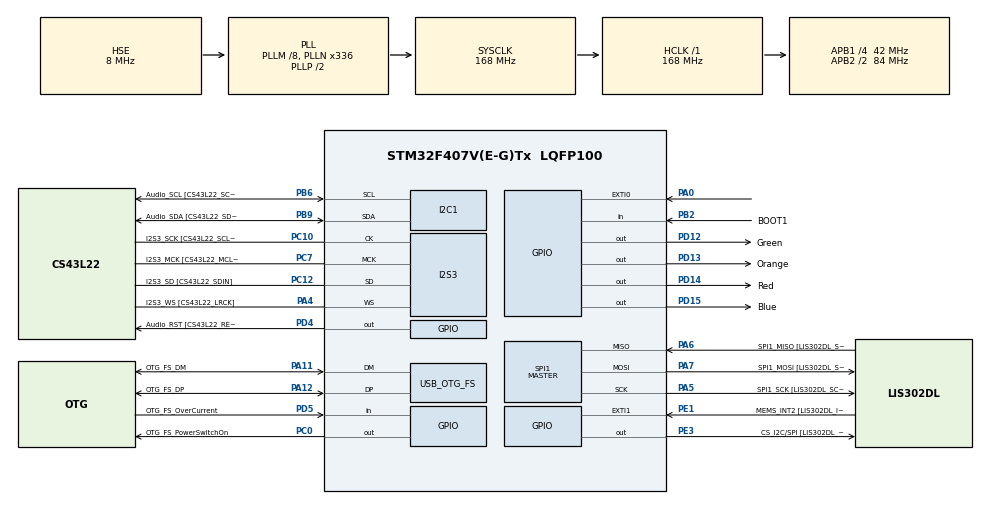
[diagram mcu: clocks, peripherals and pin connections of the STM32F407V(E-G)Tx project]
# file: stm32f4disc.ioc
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Dma.Request0=SPI3_TX
Dma.SPI3_TX.0.Direction=DMA_MEMORY_TO_PERIPH
Dma.SPI3_TX.0.FIFOMode=DMA_FIFOMODE_ENABLE
Dma.SPI3_TX.0.FIFOThreshold=DMA_FIFO_THRESHOLD_FULL
Dma.SPI3_TX.0.Instance=DMA1_Stream5
Dma.SPI3_TX.0.MemBurst=DMA_MBURST_SINGLE
Dma.SPI3_TX.0.MemDataAlignment=DMA_MDATAALIGN_HALFWORD
Dma.SPI3_TX.0.MemInc=DMA_MINC_ENABLE
Dma.SPI3_TX.0.Mode=DMA_CIRCULAR
Dma.SPI3_TX.0.PeriphBurst=DMA_PBURST_SINGLE
Dma.SPI3_TX.0.PeriphDataAlignment=DMA_PDATAALIGN_HALFWORD
Dma.SPI3_TX.0.PeriphInc=DMA_PINC_DISABLE
Dma.SPI3_TX.0.Priority=DMA_PRIORITY_LOW
I2S3.AudioFreq=I2S_AUDIOFREQ_48K
I2S3.AudioFreq-Half_Duplex_Master=I2S_AUDIOFREQ_96K
I2S3.ErrorAudioFreq=-2.34 %
I2S3.ErrorAudioFreq-Half_Duplex_Master=0.8 %
I2S3.FullDuplexMode=I2S_FULLDUPLEXMODE_DISABLE
I2S3.Instance=SPI$Index
I2S3.RealAudioFreq=46.875 KHz
I2S3.RealAudioFreq-Half_Duplex_Master=96.774 KHz
I2S3.Standard=I2S_STANDARD_LSB
I2S3.VirtualMode=I2S_MODE_MASTER
Mcu.Family=STM32F4
Mcu.Name=STM32F407V(E-G)Tx
Mcu.Package=LQFP100
NVIC.DMA1_Stream5_IRQn=true\:0\:0\:false\:false\:true\:false\:true\:true
NVIC.EXTI0_IRQn=true\:0\:0\:false\:false\:true\:true\:true\:true
NVIC.OTG_FS_IRQn=true\:0\:0\:false\:false\:true\:true\:true\:true
NVIC.PriorityGroup=NVIC_PRIORITYGROUP_0
NVIC.SPI3_IRQn=true\:0\:0\:false\:false\:true\:true\:true\:true
NVIC.TIM1_UP_TIM10_IRQn=true\:0\:0\:false\:false\:true\:true\:true\:true
PA0-WKUP.GPIO_ModeDefaultEXTI=GPIO_MODE_IT_RISING_FALLING
PA0-WKUP.Signal=GPXTI0
PA10.GPIO_Label=OTG_FS_ID
PA10.GPIO_Mode=GPIO_MODE_AF_PP
PA10.GPIO_PuPd=GPIO_NOPULL
PA10.GPIO_Speed=GPIO_SPEED_FREQ_LOW
PA10.Signal=USB_OTG_FS_ID
PA11.GPIO_Label=OTG_FS_DM
PA11.GPIO_Mode=GPIO_MODE_AF_PP
PA11.GPIO_PuPd=GPIO_NOPULL
PA11.GPIO_Speed=GPIO_SPEED_FREQ_LOW
PA11.Mode=Device_Only
PA11.Signal=USB_OTG_FS_DM
PA12.GPIO_Label=OTG_FS_DP
PA12.GPIO_Mode=GPIO_MODE_AF_PP
PA12.GPIO_PuPd=GPIO_NOPULL
PA12.GPIO_Speed=GPIO_SPEED_FREQ_LOW
PA12.Mode=Device_Only
PA12.Signal=USB_OTG_FS_DP
PA13.GPIO_Label=SWDIO
PA13.Mode=Serial_Wire
PA13.Signal=SYS_JTMS-SWDIO
PA14.GPIO_Label=SWCLK
PA14.Mode=Serial_Wire
PA14.Signal=SYS_JTCK-SWCLK
PA4.GPIO_Label=I2S3_WS [CS43L22_LRCK]
PA4.GPIO_Mode=GPIO_MODE_AF_PP
PA4.GPIO_PuPd=GPIO_NOPULL
PA4.GPIO_Speed=GPIO_SPEED_FREQ_LOW
PA4.Mode=Half_Duplex_Master
PA4.Signal=I2S3_WS
PA5.GPIO_Label=SPI1_SCK [LIS302DL_SCL/SPC]
PA5.GPIO_Mode=GPIO_MODE_AF_PP
PA5.GPIO_PuPd=GPIO_NOPULL
PA5.GPIO_Speed=GPIO_SPEED_FREQ_LOW
PA5.Mode=Full_Duplex_Master
PA5.Signal=SPI1_SCK
PA6.GPIO_Label=SPI1_MISO [LIS302DL_SDO]
PA6.GPIO_Mode=GPIO_MODE_AF_PP
PA6.GPIO_PuPd=GPIO_NOPULL
PA6.GPIO_Speed=GPIO_SPEED_FREQ_LOW
PA6.Mode=Full_Duplex_Master
PA6.Signal=SPI1_MISO
PA7.GPIO_Label=SPI1_MOSI [LIS302DL_SDA/SDI/SDO]
PA7.GPIO_Mode=GPIO_MODE_AF_PP
PA7.GPIO_PuPd=GPIO_NOPULL
PA7.GPIO_Speed=GPIO_SPEED_FREQ_LOW
PA7.Mode=Full_Duplex_Master
PA7.Signal=SPI1_MOSI
PA9.GPIO_Label=VBUS_FS
PA9.GPIO_Mode=GPIO_MODE_INPUT
PA9.GPIO_PuPd=GPIO_NOPULL
PA9.Signal=USB_OTG_FS_VBUS
PB10.GPIO_Label=CLK_IN [MP45DT02_CLK]
PB10.GPIO_Mode=GPIO_MODE_AF_PP
PB10.GPIO_PuPd=GPIO_NOPULL
PB10.GPIO_Speed=GPIO_SPEED_FREQ_LOW
PB10.Signal=I2S2_CK
PB2.GPIO_Label=BOOT1
PB2.GPIO_Mode=GPIO_MODE_INPUT
PB2.GPIO_PuPd=GPIO_NOPULL
PB2.Signal=GPIO_Input
PB3.GPIO_Label=SWO
PB3.Signal=SYS_JTDO-SWO
PB6.GPIO_Label=Audio_SCL [CS43L22_SCL]
PB6.GPIO_Mode=GPIO_MODE_AF_OD
PB6.GPIO_Pu=GPIO_PULLUP
PB6.GPIO_PuPd=GPIO_NOPULL
PB6.GPIO_Speed=GPIO_SPEED_FREQ_LOW
PB6.Mode=I2C
PB6.Signal=I2C1_SCL
PB9.GPIO_Label=Audio_SDA [CS43L22_SDA]
PB9.GPIO_Mode=GPIO_MODE_AF_OD
PB9.GPIO_Pu=GPIO_PULLUP
PB9.GPIO_PuPd=GPIO_NOPULL
PB9.GPIO_Speed=GPIO_SPEED_FREQ_LOW
PB9.Mode=I2C
PB9.Signal=I2C1_SDA
PC0.GPIO_Label=OTG_FS_PowerSwitchOn
PC0.GPIO_PuPd=GPIO_NOPULL
PC0.GPIO_Speed=GPIO_SPEED_FREQ_LOW
PC0.PinState=GPIO_PIN_SET
PC0.Signal=GPIO_Output
PC10.GPIO_Label=I2S3_SCK [CS43L22_SCLK]
PC10.GPIO_Mode=GPIO_MODE_AF_PP
PC10.GPIO_PuPd=GPIO_NOPULL
PC10.GPIO_Speed=GPIO_SPEED_FREQ_LOW
PC10.Mode=Half_Duplex_Master
PC10.Signal=I2S3_CK
PC12.GPIO_Label=I2S3_SD [CS43L22_SDIN]
PC12.GPIO_Mode=GPIO_MODE_AF_PP
PC12.GPIO_PuPd=GPIO_NOPULL
PC12.GPIO_Speed=GPIO_SPEED_FREQ_LOW
PC12.Mode=Half_Duplex_Master
PC12.Signal=I2S3_SD
PC14-OSC32_IN.GPIO_Label=PC14-OSC32_IN
PC14-OSC32_IN.Mode=LSE-External-Oscillator
PC14-OSC32_IN.Signal=RCC_OSC32_IN
PC15-OSC32_OUT.GPIO_Label=PC15-OSC32_OUT
PC15-OSC32_OUT.Mode=LSE-External-Oscillator
PC15-OSC32_OUT.Signal=RCC_OSC32_OUT
PC3.GPIO_Label=PDM_OUT [MP45DT02_DOUT]
PC3.GPIO_Mode=GPIO_MODE_AF_PP
PC3.GPIO_PuPd=GPIO_NOPULL
PC3.GPIO_Speed=GPIO_SPEED_FREQ_LOW
PC3.Signal=I2S2_SD
PC7.GPIO_Label=I2S3_MCK [CS43L22_MCLK]
PC7.GPIO_Mode=GPIO_MODE_AF_PP
PC7.GPIO_PuPd=GPIO_NOPULL
PC7.GPIO_Speed=GPIO_SPEED_FREQ_LOW
PC7.Mode=Master_Clock_Activated
PC7.Signal=I2S3_MCK
PD12.GPIO_Label=Green
PD12.Signal=GPIO_Output
PD13.GPIO_Label=Orange
PD13.Signal=GPIO_Output
PD14.GPIO_Label=Red
PD14.Signal=GPIO_Output
PD15.GPIO_Label=Blue
PD15.Signal=GPIO_Output
PD4.GPIO_Label=Audio_RST [CS43L22_RESET]
PD4.GPIO_PuPd=GPIO_NOPULL
PD4.GPIO_Speed=GPIO_SPEED_FREQ_LOW
PD4.Signal=GPIO_Output
PD5.GPIO_Label=OTG_FS_OverCurrent
PD5.GPIO_Mode=GPIO_MODE_INPUT
PD5.GPIO_PuPd=GPIO_NOPULL
PD5.Signal=GPIO_Input
PE1.GPIO_Label=MEMS_INT2 [LIS302DL_INT2]
PE1.GPIO_ModeDefaultEXTI=GPIO_MODE_EVT_RISING
PE1.GPIO_PuPd=GPIO_NOPULL
PE1.Signal=GPXTI1
PE3.GPIO_Label=CS_I2C/SPI [LIS302DL_CS_I2C/SPI]
PE3.GPIO_PuPd=GPIO_NOPULL
PE3.GPIO_Speed=GPIO_SPEED_FREQ_LOW
PE3.Signal=GPIO_Output
PH0-OSC_IN.GPIO_Label=PH0-OSC_IN
PH0-OSC_IN.Mode=HSE-External-Oscillator
PH0-OSC_IN.Signal=RCC_OSC_IN
PH1-OSC_OUT.GPIO_Label=PH1-OSC_OUT
PH1-OSC_OUT.Mode=HSE-External-Oscillator
PH1-OSC_OUT.Signal=RCC_OSC_OUT
ProjectManager.HeapSize=0x600
ProjectManager.StackSize=0x400
ProjectManager.TargetToolchain=STM32CubeIDE
RCC.48MHZClocksFreq_Value=48000000
RCC.AHBFreq_Value=168000000
RCC.APB1CLKDivider=RCC_HCLK_DIV4
RCC.APB1Freq_Value=42000000
RCC.APB1TimFreq_Value=84000000
RCC.APB2CLKDivider=RCC_HCLK_DIV2
RCC.APB2Freq_Value=84000000
RCC.APB2TimFreq_Value=168000000
RCC.CortexFreq_Value=168000000
RCC.HCLKFreq_Value=168000000
RCC.HSE_VALUE=8000000
RCC.HSI_VALUE=16000000
RCC.PLLM=8
RCC.PLLN=336
RCC.PLLQ=7
RCC.RCC_RTC_Clock_Source=RCC_RTCCLKSOURCE_LSI
RCC.RCC_RTC_Clock_SourceVirtual=RCC_RTCCLKSOURCE_LSI
RCC.SYSCLKFreq_VALUE=168000000
RCC.SYSCLKSource=RCC_SYSCLKSOURCE_PLLCLK
RCC.VCOOutputFreq_Value=336000000
SPI1.BaudRatePrescaler-Full_Duplex_Master=SPI_BAUDRATEPRESCALER_2
SPI1.CalculateBaudRate-Full_Duplex_Master=42.0 MBits/s
SPI1.Direction=SPI_DIRECTION_2LINES
SPI1.Mode=SPI_MODE_MASTER
SPI1.Mode-Full_Duplex_Master=SPI_MODE_MASTER
SPI1.VirtualType=VM_MASTER
TIM1.Prescaler=6799
TIM10.Prescaler=16799
TIM2.Prescaler=8399
USB_DEVICE.CLASS_NAME_FS=CDC
USB_DEVICE.VirtualMode-CDC_FS=Cdc
USB_DEVICE.VirtualModeFS=Cdc_FS
USB_OTG_FS.VirtualMode=Device_Only
VP_TIM10_VS_ClockSourceINT.Mode=Enable_Timer
VP_TIM1_VS_ClockSourceINT.Mode=Internal
VP_TIM2_VS_ClockSourceINT.Mode=Internal
VP_USB_DEVICE_VS_USB_DEVICE_CDC_FS.Mode=CDC_FS
board=STM32F407G-DISC1

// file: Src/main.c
/* USER CODE BEGIN Header */
/**
******************************************************************************
* @file           : main.c
* @brief          : Main program body
******************************************************************************
* @attention
*
* Copyright (c) 2025 STMicroelectronics.
* All rights reserved.
*
* This software is licensed under terms that can be found in the LICENSE file
* in the root directory of this software component.
* If no LICENSE file comes with this software, it is provided AS-IS.
*
******************************************************************************
*/
/* USER CODE END Header */
#include "main.h"
#include "dma.h"
#include "i2c.h"
#include "i2s.h"
#include "spi.h"
#include "tim.h"
#include "usb_device.h"
#include "gpio.h"

/* USER CODE BEGIN Includes */
#include "usbd_cdc_if.h"
#include "cs43l22.h"
#include "math.h"
#include <stdlib.h>
#include "stm32f4_discovery.h"
#include "stm32f4_discovery_accelerometer.h"
/* USER CODE END Includes */

/* USER CODE BEGIN PD */
#define LINE_BUFFER_SIZE 256

// macros to define the sine signal
#define FAST_SIN_FREQ 1000
#define SLOW_SIN_FREQ 500

#define SAMPLING_RATE 48000
#define AUDIO_BUFFER_LENGTH SAMPLING_RATE / SLOW_SIN_FREQ

/* USER CODE END PD */

/* USER CODE BEGIN PV */
extern USBD_HandleTypeDef hUsbDeviceFS;
volatile uint32_t last_button_press_time = 0;//simple for debuncing
volatile uint8_t use_pwm_for_led = 1;//for led mode ctrl,1->pwm mode,0->manual mode
//add for acc data store
int16_t xyz_buffer[3];
//add variables for PWM
//PSC of TIM10 is 16799，speed of counter is 0.1ms
#define PWM_FREQ_SLOW   20000  // slow ,whole period 2s
#define PWM_FREQ_MEDIUM 10000  // mid,whole period 1s
#define PWM_FREQ_FAST   5000   // fast,whole period 0.5s
uint32_t pwm_period_values[] = {PWM_FREQ_SLOW, PWM_FREQ_MEDIUM, PWM_FREQ_FAST};
volatile uint8_t  freq_index = 1;       //  (0=Slow, 1=Med, 2=Fast)

// add duty cycles 25%, 50%, 75%
float pwm_duty_values[] = {0.1f, 0.50f, 0.9f};
volatile uint8_t duty_index = 1;        //  default set 50% (0=25%, 1=50%, 2=75%)

// check led status
volatile uint8_t led_is_on = 0;

// for PWM manual mode,PWM controled by user button
volatile uint8_t is_pwm_manual = 0;

const uint8_t ISR_FLAG_RX    = 0x01;  // Received data
const uint8_t ISR_FLAG_TIM10 = 0x02;  // Timer 10 Period elapsed
const uint8_t ISR_FLAG_TIM11 = 0x04;  // Timer 10 Period elapsed
const uint8_t ISR_FLAG_ACC = 0x08;
// This is the only variable that we will modify both in the ISR and in the main loop
// It has to be declared volatile to prevent the compiler from optimizing it out.
volatile uint8_t isr_flags = 0;

// Commands that we will receive from the PC
const uint8_t COMMAND_CHANGE_FREQ[] = "changefreq"; // Change the frequency
const uint8_t COMMAND_STOP[]        = "stop"; // Go to stop mode
// below are the new added commands -xuxin
const uint8_t COMMAND_STANDBY[]     = "standby";
const uint8_t COMMAND_CHANGE_DUT[]  = "changedut";
const uint8_t COMMAND_PWM_MAN[]     = "pwmman";
const uint8_t COMMAND_LED_PWM[]     = "ledpwm";
const uint8_t COMMAND_LED_MAN[]     = "ledman";
const uint8_t COMMAND_LED_ON[]      = "ledon";
const uint8_t COMMAND_LED_OFF[]     = "ledoff";
const uint8_t COMMAND_ACC_ON[]      = "accon";
const uint8_t COMMAND_ACC_OFF[]     = "accoff";
const uint8_t COMMAND_MUTE[]        = "mute";
const uint8_t COMMAND_UNMUTE[]      = "unmute";
// Buffer for command
static uint8_t line_ready_buffer[LINE_BUFFER_SIZE]; // Stable buffer for main

// Audio buffer
int16_t buffer_audio[2 * AUDIO_BUFFER_LENGTH];

/* USER CODE END PV */

void SystemClock_Config(void);
/* USER CODE BEGIN PFP */

// Interrupt handlers
void handle_new_line();
void handle_accelerometer(void);
// Commands
void go_to_stop();
void go_to_standby(void);
// Helper functions
void init_codec_and_play();
// add  corrponding functions delare for uart commands
// for PWM and LED
void change_freq(void);
void change_duty_cycle(void);
void set_pwm_manual(void);
void led_set_pwm_mode(void);
void led_set_manual_mode(void);
void led_turn_on(void);
void led_turn_off(void);

// Commands - Accelerometer
void acc_enable(void);
void acc_disable(void);
void audio_mute(void);
void audio_unmute(void);

void update_audio_for_pwm(uint32_t pwm_ticks);
/* USER CODE END PFP */

int main(void)
{

  /* MCU Configuration--------------------------------------------------------*/

  /* Reset of all peripherals, Initializes the Flash interface and the Systick. */
  HAL_Init();

  /* Configure the system clock */
  SystemClock_Config();

  /* Initialize all configured peripherals */
  MX_GPIO_Init();
  MX_DMA_Init();
  MX_I2C1_Init();
  MX_I2S3_Init();
  MX_SPI1_Init();
  MX_USB_DEVICE_Init();
  MX_TIM10_Init();
  MX_TIM1_Init();
  MX_TIM2_Init();
  /* USER CODE BEGIN 2 */
  HAL_TIM_Base_Start_IT(&htim10);
  BSP_ACCELERO_Init();//init the acc
  init_codec_and_play();
  /* USER CODE END 2 */

  /* Infinite loop */
  /* USER CODE BEGIN WHILE */
  while (1)
  {
    // We check if that there are NO interrupts pending before going into sleep
    if (isr_flags == 0)
    {
      // Go to sleep, waiting for interrupt (WFI).
      HAL_PWR_EnterSLEEPMode(PWR_MAINREGULATOR_ON,PWR_SLEEPENTRY_WFI);
    }

    // This is needed for the UART transmission
    if (isr_flags & ISR_FLAG_RX)
    {
      isr_flags &= ~ISR_FLAG_RX;
      handle_new_line();
    }
    /* USER CODE END WHILE */

    /* USER CODE BEGIN 3 */
    if (isr_flags & ISR_FLAG_ACC)
    {
      isr_flags &= ~ISR_FLAG_ACC;
      handle_accelerometer();
    }
  }
  /* USER CODE END 3 */
}

void SystemClock_Config(void)
{
  RCC_OscInitTypeDef RCC_OscInitStruct = {0};
  RCC_ClkInitTypeDef RCC_ClkInitStruct = {0};

  /** Configure the main internal regulator output voltage
  */
  __HAL_RCC_PWR_CLK_ENABLE();
  __HAL_PWR_VOLTAGESCALING_CONFIG(PWR_REGULATOR_VOLTAGE_SCALE1);

  /** Initializes the RCC Oscillators according to the specified parameters
  * in the RCC_OscInitTypeDef structure.
  */
  RCC_OscInitStruct.OscillatorType = RCC_OSCILLATORTYPE_HSE;
  RCC_OscInitStruct.HSEState = RCC_HSE_ON;
  RCC_OscInitStruct.PLL.PLLState = RCC_PLL_ON;
  RCC_OscInitStruct.PLL.PLLSource = RCC_PLLSOURCE_HSE;
  RCC_OscInitStruct.PLL.PLLM = 8;
  RCC_OscInitStruct.PLL.PLLN = 336;
  RCC_OscInitStruct.PLL.PLLP = RCC_PLLP_DIV2;
  RCC_OscInitStruct.PLL.PLLQ = 7;
  if (HAL_RCC_OscConfig(&RCC_OscInitStruct) != HAL_OK)
  {
    Error_Handler();
  }

  /** Initializes the CPU, AHB and APB buses clocks
  */
  RCC_ClkInitStruct.ClockType = RCC_CLOCKTYPE_HCLK|RCC_CLOCKTYPE_SYSCLK
                              |RCC_CLOCKTYPE_PCLK1|RCC_CLOCKTYPE_PCLK2;
  RCC_ClkInitStruct.SYSCLKSource = RCC_SYSCLKSOURCE_PLLCLK;
  RCC_ClkInitStruct.AHBCLKDivider = RCC_SYSCLK_DIV1;
  RCC_ClkInitStruct.APB1CLKDivider = RCC_HCLK_DIV4;
  RCC_ClkInitStruct.APB2CLKDivider = RCC_HCLK_DIV2;

  if (HAL_RCC_ClockConfig(&RCC_ClkInitStruct, FLASH_LATENCY_5) != HAL_OK)
  {
    Error_Handler();
  }
}

/* USER CODE BEGIN 4 */

// All of this is used to manage commands from serial interface
static uint8_t line_buffer[LINE_BUFFER_SIZE];
static uint32_t line_len = 0;
void CDC_ReceiveCallBack(uint8_t *buf, uint32_t len)
{
  // Prevent overflow, does not handle the command
  if (line_len + len >= LINE_BUFFER_SIZE)
  {
    line_len = 0;
    return;
  }

  // Append received chunk
  memcpy(&line_buffer[line_len], buf, len);
  line_len += len;

  // Process all complete lines
  while (1)
  {
    // Look for '\n' or '\r' inside line_buffer
    uint8_t *line_feed = memchr(line_buffer, '\n', line_len);
    if (line_feed == NULL){
      line_feed = memchr(line_buffer, '\r', line_len);
      if (line_feed == NULL)
      break;
    }

    // Replace \n or \r by terminator
    *line_feed = '\0';

    // Remove optional '\r' in case input was \r\n
    if (line_feed > line_buffer && *(line_feed - 1) == '\r')
    *(line_feed - 1) = '\0';

    uint32_t processed = (line_feed + 1) - line_buffer;

    // Signal the main that there is a new line ready to be checked
    memcpy(line_ready_buffer, line_buffer, processed);
    isr_flags |= ISR_FLAG_RX;

    // Move leftover bytes to start
    line_len -= processed;
    memmove(line_buffer, line_buffer + processed, line_len);
  }
}

/**
* @brief  Handle possible new command
* @retval None
*/
void handle_new_line()
{
  //add commands for PWM
  if (memcmp(line_ready_buffer, COMMAND_CHANGE_FREQ, sizeof(COMMAND_CHANGE_FREQ)-1) == 0)
  {
      change_freq();
      CDC_Transmit_FS((uint8_t*)"Frequency changed\r\n", 19);
  }
  else if (memcmp(line_ready_buffer, COMMAND_CHANGE_DUT, sizeof(COMMAND_CHANGE_DUT)-1) == 0) {
      change_duty_cycle();
      CDC_Transmit_FS((uint8_t*)"Duty cycle changed\r\n", 20);
  }
  else if (memcmp(line_ready_buffer, COMMAND_PWM_MAN, sizeof(COMMAND_PWM_MAN)-1) == 0) {
      set_pwm_manual();
      CDC_Transmit_FS((uint8_t*)"Manual PWM setup start\r\n", 24);
  }
  //add commands for LED
  else if (memcmp(line_ready_buffer, COMMAND_LED_PWM, sizeof(COMMAND_LED_PWM)-1) == 0) {
      led_set_pwm_mode();
      CDC_Transmit_FS((uint8_t*)"LED Mode: PWM\r\n", 15);
  }
  else if (memcmp(line_ready_buffer, COMMAND_LED_MAN, sizeof(COMMAND_LED_MAN)-1) == 0) {
      led_set_manual_mode();
      CDC_Transmit_FS((uint8_t*)"LED Mode: Manual\r\n", 18);
  }
  else if (memcmp(line_ready_buffer, COMMAND_LED_ON, sizeof(COMMAND_LED_ON)-1) == 0) {
      led_turn_on();
      CDC_Transmit_FS((uint8_t*)"LED ON\r\n", 8);
  }
  else if (memcmp(line_ready_buffer, COMMAND_LED_OFF, sizeof(COMMAND_LED_OFF)-1) == 0) {
      led_turn_off();
      CDC_Transmit_FS((uint8_t*)"LED OFF\r\n", 9);
  }
  //FOR POWER modes
  else if (memcmp(line_ready_buffer, COMMAND_STOP, sizeof(COMMAND_STOP)-1) == 0)
  {
      CDC_Transmit_FS((uint8_t*)"Entering STOP mode...\r\n", 23);
      go_to_stop();
  }
  else if (memcmp(line_ready_buffer, COMMAND_STANDBY, sizeof(COMMAND_STANDBY)-1) == 0) {
      CDC_Transmit_FS((uint8_t*)"Entering STANDBY mode...\r\n", 26);
      go_to_standby();
  }
  //add for audio
  else if (memcmp(line_ready_buffer, COMMAND_MUTE, sizeof(COMMAND_MUTE)-1) == 0) {
      audio_mute();
      CDC_Transmit_FS((uint8_t*)"Audio Muted\r\n", 13);
  }
  else if (memcmp(line_ready_buffer, COMMAND_UNMUTE, sizeof(COMMAND_UNMUTE)-1) == 0) {
      audio_unmute();
      CDC_Transmit_FS((uint8_t*)"Audio Unmuted\r\n", 15);
  }
  // for  Accelerometer
  else if (memcmp(line_ready_buffer, COMMAND_ACC_ON, sizeof(COMMAND_ACC_ON)-1) == 0) {
      //CDC_Transmit_FS((uint8_t*)"ACC Enabled\r\n", 13);
      acc_enable();
      CDC_Transmit_FS((uint8_t*)"ACC Enabled\r\n", 13);
  }
  else if (memcmp(line_ready_buffer, COMMAND_ACC_OFF, sizeof(COMMAND_ACC_OFF)-1) == 0) {
      acc_disable();
      CDC_Transmit_FS((uint8_t*)"ACC Disabled\r\n", 14);
  }
  else
  {
    // If we receive an unknown command, we send an error message back to the PC
    //CDC_Transmit_FS((uint8_t*)"Unknown command\r\n", 17);
  }
}
void go_to_standby()
{
    HAL_GPIO_WritePin(GPIOD, GPIO_PIN_12|GPIO_PIN_13|GPIO_PIN_14|GPIO_PIN_15, GPIO_PIN_RESET);
    cs43l22_stop();
    __HAL_PWR_CLEAR_FLAG(PWR_FLAG_WU);
    HAL_PWR_EnableWakeUpPin(PWR_WAKEUP_PIN1);
    HAL_PWR_EnterSTANDBYMode();
}

//add interrupt callback function for change the ARR to change duty
void HAL_TIM_PeriodElapsedCallback(TIM_HandleTypeDef *htim)
{
    //for PWM LED
    if (htim->Instance == TIM10)
    {
        // Green=PD12, Orange=PD13, Red=PD14, Blue=PD15
        if (use_pwm_for_led == 1)//only in pwm mode
        {
            HAL_GPIO_TogglePin(GPIOD, GPIO_PIN_12);
        }
        // switch flag
        led_is_on = !led_is_on;

        uint32_t total_period = pwm_period_values[freq_index];//implement the freq ctrl, this is related to the "period" in LAB1
        uint32_t on_time = (uint32_t)(total_period * pwm_duty_values[duty_index]);//by changing the ratio of on and off ,change the period behavior of led
        uint32_t off_time = total_period - on_time;

        if (led_is_on)
        {
            //  if on, will overflow after reach on_time, then into off
            __HAL_TIM_SET_AUTORELOAD(htim, on_time);
        }
        else
        {
            __HAL_TIM_SET_AUTORELOAD(htim, off_time);
        }
    }
    if (htim->Instance == TIM1)
    {

        isr_flags |= ISR_FLAG_ACC;
    }
    //new logic to handle ACC value
    /*
    if (htim->Instance == TIM1)
    {

        BSP_ACCELERO_GetXYZ(xyz_buffer);

        // xyz_buffer[0] = X, [1] = Y, [2] = Z
         // positive only because direction
        int16_t abs_x = abs(xyz_buffer[0]);
        int16_t abs_y = abs(xyz_buffer[1]);
        int16_t abs_z = abs(xyz_buffer[2]);

        //using the highest value to control led
        if (abs_x > abs_y && abs_x > abs_z)
        {
            // Z  -> blue ON, others OFF
            HAL_GPIO_WritePin(GPIOD, GPIO_PIN_14, GPIO_PIN_SET);
            HAL_GPIO_WritePin(GPIOD, GPIO_PIN_13 | GPIO_PIN_15, GPIO_PIN_RESET);
        }
        else if (abs_y > abs_x && abs_y > abs_z)
        {
            // x  -> Red ON, others OFF
            HAL_GPIO_WritePin(GPIOD, GPIO_PIN_13, GPIO_PIN_SET);
            HAL_GPIO_WritePin(GPIOD, GPIO_PIN_14 | GPIO_PIN_15, GPIO_PIN_RESET);
        }
        else
        {
            // Y  -> orange ON, others OFF
            HAL_GPIO_WritePin(GPIOD, GPIO_PIN_15, GPIO_PIN_SET);
            HAL_GPIO_WritePin(GPIOD, GPIO_PIN_13 | GPIO_PIN_14, GPIO_PIN_RESET);
        }
    }*/
}
void handle_accelerometer(void){

        BSP_ACCELERO_GetXYZ(xyz_buffer);

        // xyz_buffer[0] = X, [1] = Y, [2] = Z
         // positive only because direction
        int16_t abs_x = abs(xyz_buffer[0]);
        int16_t abs_y = abs(xyz_buffer[1]);
        int16_t abs_z = abs(xyz_buffer[2]);

        //using the highest value to control led
        if (abs_x > abs_y && abs_x > abs_z)
        {
            // Z  -> blue ON, others OFF
            HAL_GPIO_WritePin(GPIOD, GPIO_PIN_14, GPIO_PIN_SET);
            HAL_GPIO_WritePin(GPIOD, GPIO_PIN_13 | GPIO_PIN_15, GPIO_PIN_RESET);
        }
        else if (abs_y > abs_x && abs_y > abs_z)
        {
            // x  -> Red ON, others OFF
            HAL_GPIO_WritePin(GPIOD, GPIO_PIN_13, GPIO_PIN_SET);
            HAL_GPIO_WritePin(GPIOD, GPIO_PIN_14 | GPIO_PIN_15, GPIO_PIN_RESET);
        }
        else
        {
            // Y  -> orange ON, others OFF
            HAL_GPIO_WritePin(GPIOD, GPIO_PIN_15, GPIO_PIN_SET);
            HAL_GPIO_WritePin(GPIOD, GPIO_PIN_13 | GPIO_PIN_14, GPIO_PIN_RESET);
        }
}
void change_freq()
{
    freq_index++;
    if (freq_index >= 3) freq_index = 0;
    //for requirement, "Proportional" change
    update_audio_for_pwm(pwm_period_values[freq_index]);
    is_pwm_manual = 0;

}
void change_duty_cycle()
{
    is_pwm_manual = 0;
    duty_index++;
    if (duty_index >= 3) duty_index = 0;
}
void set_pwm_manual()
{
    is_pwm_manual = 1;
    //HAL_GPIO_WritePin(GPIOD, GPIO_PIN_12, GPIO_PIN_RESET);
}

void led_set_pwm_mode()
{
  use_pwm_for_led = 1;
}
void led_set_manual_mode()
{
  is_pwm_manual = 0;
  use_pwm_for_led = 0;
  HAL_GPIO_WritePin(GPIOD, GPIO_PIN_12, GPIO_PIN_RESET);
}
void led_turn_on()
{
        if(use_pwm_for_led == 0)//ledman
        {
        HAL_GPIO_WritePin(GPIOD, GPIO_PIN_12, GPIO_PIN_SET);
        }
}
void led_turn_off()
{
        if(use_pwm_for_led == 0)//ledman
        //HAL_TIM_Base_Stop_IT(&htim10);
        HAL_GPIO_WritePin(GPIOD, GPIO_PIN_12, GPIO_PIN_RESET);
}

void acc_enable()
{
  if (BSP_ACCELERO_Init() != HAL_OK)

  {
        Error_Handler();
  }

  //start tim1 interrupt, to read acc value
  HAL_TIM_Base_Start_IT(&htim1);

}
void acc_disable()
{
    HAL_TIM_Base_Stop_IT(&htim1);
    //off all the leds
    HAL_GPIO_WritePin(GPIOD, GPIO_PIN_13 | GPIO_PIN_14 | GPIO_PIN_15, GPIO_PIN_RESET);
}

void audio_mute() {
    cs43l22_mute();
}
void audio_unmute() {
    cs43l22_unmute();
}
void init_codec_and_play()
{
  cs43l22_init();
  // sine signal
  //REUSED IN NEW FUNCTION
  for(int i = 0; i < AUDIO_BUFFER_LENGTH;i++)
  {
    buffer_audio[2 * i] = 10000 * sin(2 * 3.14 * SLOW_SIN_FREQ * i / SAMPLING_RATE);
    buffer_audio[2 * i + 1] = 10000 * sin(2 * 3.14 * SLOW_SIN_FREQ * i / SAMPLING_RATE);
  }

  cs43l22_play(buffer_audio, 2 * AUDIO_BUFFER_LENGTH);
}

void HAL_GPIO_EXTI_Callback(uint16_t GPIO_Pin)
{

    if (GPIO_Pin == GPIO_PIN_0)
    {

      if (is_pwm_manual == 1)
        {
            if (HAL_GPIO_ReadPin(GPIOA, GPIO_PIN_0) == GPIO_PIN_SET) // pressed
            {
                __HAL_TIM_SET_COUNTER(&htim2, 0); // clear TIM2
                HAL_TIM_Base_Start(&htim2);       // begin count
            }
            else // should enable rising/falling interrupt, pressed->interrupt->enter "if"begin count->exit , loose->next time enter interrupt->enter "else" end count
            {
                HAL_TIM_Base_Stop(&htim2);        // stop count
                uint32_t press_time = __HAL_TIM_GET_COUNTER(&htim2); // get time diff

                // simple filter
                if (press_time > 100)
                {
                    // set new freq
                    pwm_period_values[freq_index] = press_time;
                    update_audio_for_pwm(press_time);
                   CDC_Transmit_FS((uint8_t*)"PWM Set Done!\r\n", 15);
                }

            }
        }
        // Debounce
        if (use_pwm_for_led == 0) //ledman
        {

            static uint32_t last_time = 0;
            uint32_t current_time = HAL_GetTick();
            if (HAL_GPIO_ReadPin(GPIOA, GPIO_PIN_0) == GPIO_PIN_SET && (current_time - last_time > 200))
            {
                last_time = current_time;
                HAL_GPIO_TogglePin(GPIOD, GPIO_PIN_12);
            }
        }

    }
}

/**
* @brief Go to stop mode
* @retval None
*/
void go_to_stop()
{
  // TODO: Make sure all user LEDS are off
  //add leds off
   HAL_GPIO_WritePin(GPIOD, GPIO_PIN_12|GPIO_PIN_13|GPIO_PIN_14|GPIO_PIN_15, GPIO_PIN_RESET);
  // To avoid noise during stop mode
  cs43l22_stop();

  // Required otherwise the audio wont work after wakeup
  HAL_I2S_DeInit(&hi2s3);
  //add for usb uart
  USBD_DeInit(&hUsbDeviceFS);
  // We disable the systick interrupt before going to stop (1ms tick)
  // Otherwise we would be woken up every 1ms
  HAL_SuspendTick();

  HAL_PWR_EnterSTOPMode(PWR_MAINREGULATOR_ON, PWR_SLEEPENTRY_WFI);

  // We need to reconfigure the system clock after waking up.
  // After exiting from stop mode, the system clock is reset to the default
  // which is not the same we configure in cubeMx, so we do it as done
  // during the init, by calling SystemClock_Config().
  SystemClock_Config();
  HAL_ResumeTick();

  // Required otherwise the audio wont work after wakeup
  MX_I2S3_Init();
  MX_USB_DEVICE_Init();
  init_codec_and_play(pwm_period_values[freq_index]);
}

void update_audio_for_pwm(uint32_t pwm_ticks)
{

    // according　PWM value to freq.
    //  example : (20000 ticks) -> 10,000,000 / 20,000 = 500 Hz
    //  (10000 ticks) -> 10,000,000 / 10,000 = 1000 Hz

    if(pwm_ticks >20000 ||pwm_ticks ==20000)
    {
        pwm_ticks = 20000;
    }else if (pwm_ticks >= 10000|| pwm_ticks ==10000){
      pwm_ticks = 10000;
    }else {
      pwm_ticks =5000;
    }

    uint16_t calculated_freq = 10000000 / pwm_ticks;

    if (calculated_freq < 100) calculated_freq = 100;
    if (calculated_freq > 20000) calculated_freq = 20000;
    // same method of init function
    for(int i = 0; i < AUDIO_BUFFER_LENGTH; i++)
    {
        int16_t sample_value = (int16_t)(10000 * sin(2 * 3.14f * calculated_freq * i / SAMPLING_RATE));
        buffer_audio[2 * i]     = sample_value;
        buffer_audio[2 * i + 1] = sample_value;
    }

}
/* USER CODE END 4 */

void Error_Handler(void)
{
  __disable_irq();
  while (1)
  {
  }
}
